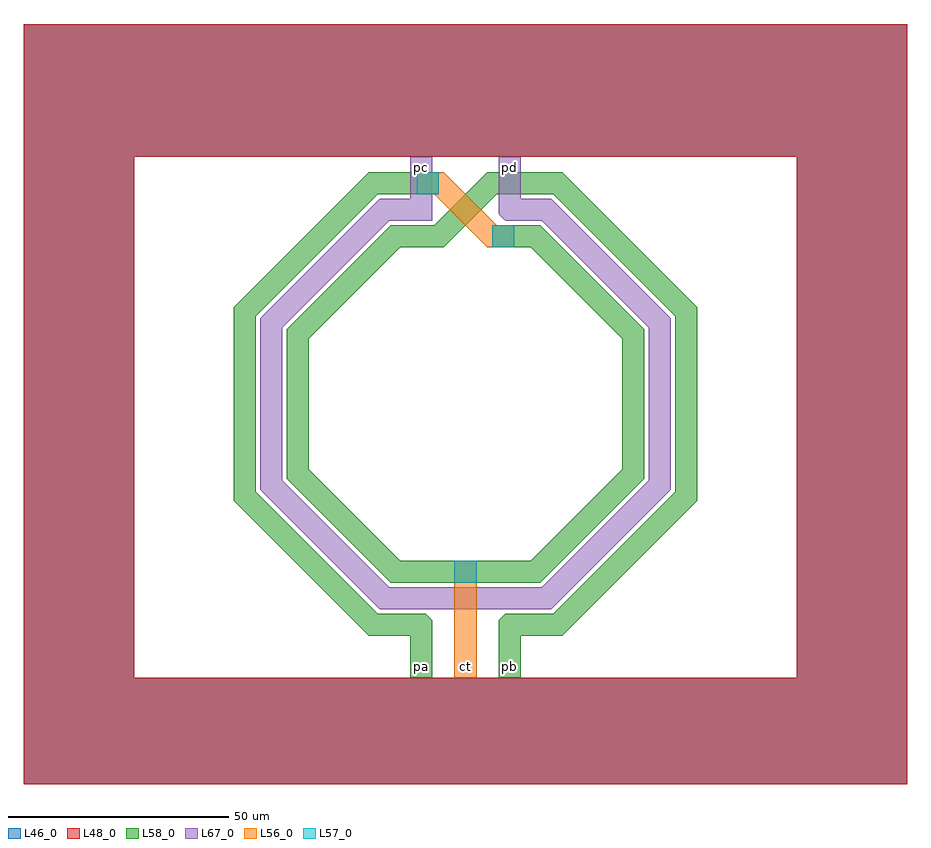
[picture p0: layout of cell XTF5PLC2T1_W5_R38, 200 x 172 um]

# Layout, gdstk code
import gdstk
lib = gdstk.Library(unit=1e-6, precision=1e-09)
def R(c, l, rs):  # rectangles x0, y0, x1, y1
    for r in rs: c.add(gdstk.rectangle(r[:2], r[2:], *l))
def P(c, l, *ps):  # polygons
    for p in ps: c.add(gdstk.Polygon(p, *l))
L46_0 = (46, 0)
L48_0 = (48, 0)
L56_0 = (56, 0)
L57_0 = (57, 0)
L58_0 = (58, 0)
L67_0 = (67, 0)

xtf5plc2t1_w5_r38 = lib.new_cell('XTF5PLC2T1_W5_R38')
P(xtf5plc2t1_w5_r38, L46_0, [(100,-86),(-100,-86),(-100,86),(75,86),(75,56),(-75,56),(-75,-62),(75,-62),(75,86),(100,86)])
P(xtf5plc2t1_w5_r38, L48_0, [(100,-86),(-100,-86),(-100,86),(75,86),(75,56),(-75,56),(-75,-62),(75,-62),(75,86),(100,86)])
R(xtf5plc2t1_w5_r38, L56_0, [(-2.5,-62,2.5,-35.5), (-2.5,-62,2.5,-57)])
P(xtf5plc2t1_w5_r38, L56_0, [(11,35.5),(4.965,35.5),(-7.035,47.5),(-11,47.5),(-11,52.5),(-4.965,52.5),(7.035,40.5),(11,40.5)])
R(xtf5plc2t1_w5_r38, L57_0, [(-2.5,-40.5,2.5,-35.5), (6,35.5,11,40.5), (-11,47.5,-6,52.5)])
R(xtf5plc2t1_w5_r38, L58_0, [(-12.5,-62,-7.5,-57), (7.5,-62,12.5,-57)])
P(xtf5plc2t1_w5_r38, L58_0, [(-6,47.5),(-19.805,47.5),(-47.5,19.805),(-47.5,-19.805),(-19.805,-47.5),(-8.965,-47.5),(-7.5,-48.965),(-7.5,-62),(-12.5,-62),(-12.5,-52.5),(-21.875,-52.5),(-52.5,-21.875),(-52.5,21.875),(-21.875,52.5),(-6,52.5)],
  [(52.5,-21.875),(21.875,-52.5),(12.5,-52.5),(12.5,-62),(7.5,-62),(7.5,-48.965),(8.965,-47.5),(19.805,-47.5),(47.5,-19.805),(47.5,19.805),(19.805,47.5),(7.035,47.5),(-4.965,35.5),(-14.805,35.5),(-35.5,14.805),(-35.5,-14.805),(-14.805,-35.5),(14.805,-35.5),(35.5,-14.805),(35.5,14.805),(14.805,35.5),(6,35.5),(6,40.5),(16.875,40.5),(40.5,16.875),(40.5,-16.875),(16.875,-40.5),(-16.875,-40.5),(-40.5,-16.875),(-40.5,16.875),(-16.875,40.5),(-7.035,40.5),(4.965,52.5),(21.875,52.5),(52.5,21.875)])
R(xtf5plc2t1_w5_r38, L67_0, [(-12.5,51,-7.5,56), (7.5,51,12.5,56)])
P(xtf5plc2t1_w5_r38, L67_0, [(46.5,-19.375),(19.375,-46.5),(-19.375,-46.5),(-46.5,-19.375),(-46.5,19.375),(-19.375,46.5),(-12.5,46.5),(-12.5,56),(-7.5,56),(-7.5,41.5),(-17.305,41.5),(-41.5,17.305),(-41.5,-17.305),(-17.305,-41.5),(17.305,-41.5),(41.5,-17.305),(41.5,17.305),(17.305,41.5),(8.965,41.5),(7.5,42.965),(7.5,56),(12.5,56),(12.5,46.5),(19.375,46.5),(46.5,19.375)])
xtf5plc2t1_w5_r38.add(gdstk.Label('pb', (10,-59.5), layer=58, texttype=0))
xtf5plc2t1_w5_r38.add(gdstk.Label('pa', (-10,-59.5), layer=58, texttype=0))
xtf5plc2t1_w5_r38.add(gdstk.Label('pd', (10,53.5), layer=67, texttype=0))
xtf5plc2t1_w5_r38.add(gdstk.Label('pc', (-10,53.5), layer=67, texttype=0))
xtf5plc2t1_w5_r38.add(gdstk.Label('ct', (0,-59.5), layer=56, texttype=0))

lib.write_gds('XTF5PLC2T1_W5_R38.gds')
